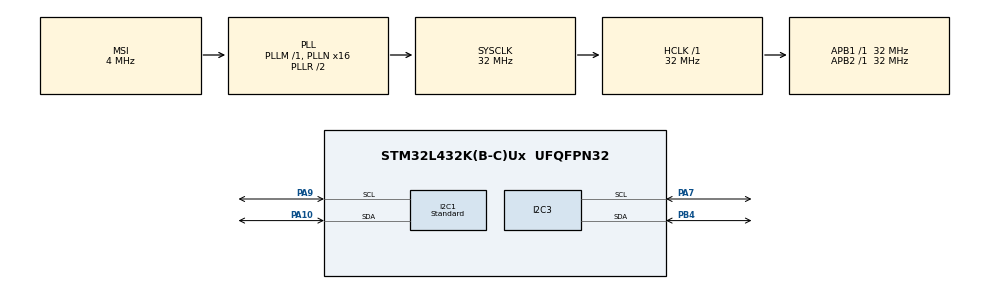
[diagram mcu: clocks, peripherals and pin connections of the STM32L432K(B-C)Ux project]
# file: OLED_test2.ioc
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I2C1.I2C_Speed_Mode=I2C_Standard
I2C1.Timing=0x00707CBB
I2C3.Timing=0x00707CBB
Mcu.Family=STM32L4
Mcu.Name=STM32L432K(B-C)Ux
Mcu.Package=UFQFPN32
NVIC.PriorityGroup=NVIC_PRIORITYGROUP_4
PA10.Mode=I2C
PA10.Signal=I2C1_SDA
PA13\ (JTMS-SWDIO).Mode=Serial_Wire
PA13\ (JTMS-SWDIO).Signal=SYS_JTMS-SWDIO
PA14\ (JTCK-SWCLK).Mode=Serial_Wire
PA14\ (JTCK-SWCLK).Signal=SYS_JTCK-SWCLK
PA7.Mode=I2C
PA7.Signal=I2C3_SCL
PA9.Mode=I2C
PA9.Signal=I2C1_SCL
PB4\ (NJTRST).Mode=I2C
PB4\ (NJTRST).Signal=I2C3_SDA
PC14-OSC32_IN\ (PC14).Mode=LSE-External-Oscillator
PC14-OSC32_IN\ (PC14).Signal=RCC_OSC32_IN
PC15-OSC32_OUT\ (PC15).Mode=LSE-External-Oscillator
PC15-OSC32_OUT\ (PC15).Signal=RCC_OSC32_OUT
ProjectManager.HeapSize=0x200
ProjectManager.StackSize=0x400
ProjectManager.TargetToolchain=STM32CubeIDE
RCC.AHBFreq_Value=32000000
RCC.APB1Freq_Value=32000000
RCC.APB1TimFreq_Value=32000000
RCC.APB2Freq_Value=32000000
RCC.APB2TimFreq_Value=32000000
RCC.CortexFreq_Value=32000000
RCC.HCLKFreq_Value=32000000
RCC.HSE_VALUE=8000000
RCC.HSI16_VALUE=16000000
RCC.HSI48_VALUE=48000000
RCC.HSI_VALUE=16000000
RCC.MSI_VALUE=4000000
RCC.PLLMUL=RCC_PLLMUL_4
RCC.PLLN=16
RCC.SYSCLKFreq_VALUE=32000000
RCC.SYSCLKSource=RCC_SYSCLKSOURCE_PLLCLK
RCC.VCOOutputFreq_Value=64000000
board=NUCLEO-L432KC

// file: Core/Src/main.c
/* USER CODE BEGIN Header */
/**
  ******************************************************************************
  * @file           : main.c
  * @brief          : Main program body
  ******************************************************************************
  * @attention
  *
  * Copyright (c) 2024 STMicroelectronics.
  * All rights reserved.
  *
  * This software is licensed under terms that can be found in the LICENSE file
  * in the root directory of this software component.
  * If no LICENSE file comes with this software, it is provided AS-IS.
  *
  ******************************************************************************
  */
/* USER CODE END Header */
#include "main.h"

/* USER CODE BEGIN Includes */

#include "stdio.h"
#include "ssd1306.h"
#include "ssd1306_fonts.h"
#include "i2c-lcd.h"
/* USER CODE END Includes */

I2C_HandleTypeDef hi2c1;
I2C_HandleTypeDef hi2c3;

void SystemClock_Config(void);
static void MX_GPIO_Init(void);
static void MX_I2C1_Init(void);
static void MX_I2C3_Init(void);

/* USER CODE BEGIN 0 */
#define DS3107_ADDRESS 0xD0

//Convert normal decimal numbers to binary coded decimal
uint8_t decToBcd(int val)
{
	return (uint8_t)( (val/10*16) + (val%10) );
}
//Convert binary coded decimal to normal decimal numbers
int bcdToDec(uint8_t val)
{
	return (int)( (val/16*10) + (val%16) );
}
typedef struct {
	uint8_t seconds;
	uint8_t minutes;
	uint8_t hour;
	uint8_t dayofweek;
	uint8_t dayofmonth;
	uint8_t month;
	uint8_t year;
} TIME;

TIME time;

//function to set time
void Set_Time (uint8_t sec, uint8_t min, uint8_t hour, uint8_t dow, uint8_t dom, uint8_t month, uint8_t year)
{
	uint8_t set_time[7];
	set_time[0] = decToBcd(sec);
	set_time[1] = decToBcd(min);
	set_time[2] = decToBcd(hour);
	set_time[3] = decToBcd(dow);
	set_time[4] = decToBcd(dom);
	set_time[5] = decToBcd(month);
	set_time[6] = decToBcd(year);

	HAL_I2C_Mem_Write(&hi2c1, DS3107_ADDRESS, 0x00, 1, set_time, 7, 1000); //OLED
	HAL_I2C_Mem_Write(&hi2c3, DS3107_ADDRESS, 0x00, 1, set_time, 7, 1000);

}
void Get_Time (void)
{
	uint8_t get_time[7];
	HAL_I2C_Mem_Read(&hi2c1, DS3107_ADDRESS, 0x00, 1, get_time, 7, 1000);  //OLED
	HAL_I2C_Mem_Read(&hi2c3, DS3107_ADDRESS, 0x00, 1, get_time, 7, 1000);
	time.seconds = bcdToDec(get_time[0]);
	time.minutes = bcdToDec(get_time[1]);
	time.hour = bcdToDec(get_time[2]);
	time.dayofweek = bcdToDec(get_time[3]);
	time.dayofmonth = bcdToDec(get_time[4]);
	time.month = bcdToDec(get_time[5]);
	time.year = bcdToDec(get_time[6]);
}

char buffer[15];

/* USER CODE END 0 */

int main(void)
{
  /* USER CODE BEGIN 1 */
	char array[] = "HELLO WORLD";
	char retval;

  /* USER CODE END 1 */

  /* MCU Configuration--------------------------------------------------------*/

  /* Reset of all peripherals, Initializes the Flash interface and the Systick. */
  HAL_Init();

  /* USER CODE BEGIN Init */
  lcd_init ();
  /* USER CODE END Init */

  /* Configure the system clock */
  SystemClock_Config();

  /* Initialize all configured peripherals */
  MX_GPIO_Init();
  MX_I2C1_Init();
  MX_I2C3_Init();
  /* USER CODE BEGIN 2 */
  ssd1306_Init();
//  ssd1306_Fill(White);
//  ssd1306_UpdateScreen();

  Set_Time(40, 31, 01, 5, 10, 7, 24);

//  ssd1306_SetCursor(5, 5);
//  retval = ssd1306_WriteString(array, Font_11x18, White);
//  ssd1306_UpdateScreen();

  /* USER CODE END 2 */

  /* Infinite loop */
  while (1)
  {

    /* USER CODE BEGIN 3 */
	  Get_Time();
	  	  sprintf(buffer, "%02d:%02d:%02d", time.hour, time.minutes, time.seconds);
	  	  lcd_put_cur(0,0);
	  	  lcd_send_string(buffer);

	  	  ssd1306_SetCursor(5, 5);
	  	  retval = ssd1306_WriteString(buffer, Font_7x10, White);
	  	  ssd1306_UpdateScreen();

	  	  sprintf(buffer, "%02d-%02d-20%02d", time.dayofmonth, time.month, time.year);
	  	  lcd_put_cur(1,0);
	  	  lcd_send_string(buffer);
	  	 ssd1306_SetCursor(7, 20);
	  		  	  retval = ssd1306_WriteString(buffer, Font_7x10, White);
	  		  	  ssd1306_UpdateScreen();

	  	  HAL_Delay(500);
  }
  /* USER CODE END 3 */
}

void SystemClock_Config(void)
{
  RCC_OscInitTypeDef RCC_OscInitStruct = {0};
  RCC_ClkInitTypeDef RCC_ClkInitStruct = {0};

  /** Configure the main internal regulator output voltage
  */
  if (HAL_PWREx_ControlVoltageScaling(PWR_REGULATOR_VOLTAGE_SCALE1) != HAL_OK)
  {
    Error_Handler();
  }

  /** Configure LSE Drive Capability
  */
  HAL_PWR_EnableBkUpAccess();
  __HAL_RCC_LSEDRIVE_CONFIG(RCC_LSEDRIVE_LOW);

  /** Initializes the RCC Oscillators according to the specified parameters
  * in the RCC_OscInitTypeDef structure.
  */
  RCC_OscInitStruct.OscillatorType = RCC_OSCILLATORTYPE_LSE|RCC_OSCILLATORTYPE_MSI;
  RCC_OscInitStruct.LSEState = RCC_LSE_ON;
  RCC_OscInitStruct.MSIState = RCC_MSI_ON;
  RCC_OscInitStruct.MSICalibrationValue = 0;
  RCC_OscInitStruct.MSIClockRange = RCC_MSIRANGE_6;
  RCC_OscInitStruct.PLL.PLLState = RCC_PLL_ON;
  RCC_OscInitStruct.PLL.PLLSource = RCC_PLLSOURCE_MSI;
  RCC_OscInitStruct.PLL.PLLM = 1;
  RCC_OscInitStruct.PLL.PLLN = 16;
  RCC_OscInitStruct.PLL.PLLP = RCC_PLLP_DIV7;
  RCC_OscInitStruct.PLL.PLLQ = RCC_PLLQ_DIV2;
  RCC_OscInitStruct.PLL.PLLR = RCC_PLLR_DIV2;
  if (HAL_RCC_OscConfig(&RCC_OscInitStruct) != HAL_OK)
  {
    Error_Handler();
  }

  /** Initializes the CPU, AHB and APB buses clocks
  */
  RCC_ClkInitStruct.ClockType = RCC_CLOCKTYPE_HCLK|RCC_CLOCKTYPE_SYSCLK
                              |RCC_CLOCKTYPE_PCLK1|RCC_CLOCKTYPE_PCLK2;
  RCC_ClkInitStruct.SYSCLKSource = RCC_SYSCLKSOURCE_PLLCLK;
  RCC_ClkInitStruct.AHBCLKDivider = RCC_SYSCLK_DIV1;
  RCC_ClkInitStruct.APB1CLKDivider = RCC_HCLK_DIV1;
  RCC_ClkInitStruct.APB2CLKDivider = RCC_HCLK_DIV1;

  if (HAL_RCC_ClockConfig(&RCC_ClkInitStruct, FLASH_LATENCY_1) != HAL_OK)
  {
    Error_Handler();
  }

  /** Enable MSI Auto calibration
  */
  HAL_RCCEx_EnableMSIPLLMode();
}

static void MX_I2C1_Init(void)
{

  hi2c1.Instance = I2C1;
  hi2c1.Init.Timing = 0x00707CBB;
  hi2c1.Init.OwnAddress1 = 0;
  hi2c1.Init.AddressingMode = I2C_ADDRESSINGMODE_7BIT;
  hi2c1.Init.DualAddressMode = I2C_DUALADDRESS_DISABLE;
  hi2c1.Init.OwnAddress2 = 0;
  hi2c1.Init.OwnAddress2Masks = I2C_OA2_NOMASK;
  hi2c1.Init.GeneralCallMode = I2C_GENERALCALL_DISABLE;
  hi2c1.Init.NoStretchMode = I2C_NOSTRETCH_DISABLE;
  if (HAL_I2C_Init(&hi2c1) != HAL_OK)
  {
    Error_Handler();
  }

  /** Configure Analogue filter
  */
  if (HAL_I2CEx_ConfigAnalogFilter(&hi2c1, I2C_ANALOGFILTER_ENABLE) != HAL_OK)
  {
    Error_Handler();
  }

  /** Configure Digital filter
  */
  if (HAL_I2CEx_ConfigDigitalFilter(&hi2c1, 0) != HAL_OK)
  {
    Error_Handler();
  }

}

static void MX_I2C3_Init(void)
{

  hi2c3.Instance = I2C3;
  hi2c3.Init.Timing = 0x00707CBB;
  hi2c3.Init.OwnAddress1 = 0;
  hi2c3.Init.AddressingMode = I2C_ADDRESSINGMODE_7BIT;
  hi2c3.Init.DualAddressMode = I2C_DUALADDRESS_DISABLE;
  hi2c3.Init.OwnAddress2 = 0;
  hi2c3.Init.OwnAddress2Masks = I2C_OA2_NOMASK;
  hi2c3.Init.GeneralCallMode = I2C_GENERALCALL_DISABLE;
  hi2c3.Init.NoStretchMode = I2C_NOSTRETCH_DISABLE;
  if (HAL_I2C_Init(&hi2c3) != HAL_OK)
  {
    Error_Handler();
  }

  /** Configure Analogue filter
  */
  if (HAL_I2CEx_ConfigAnalogFilter(&hi2c3, I2C_ANALOGFILTER_ENABLE) != HAL_OK)
  {
    Error_Handler();
  }

  /** Configure Digital filter
  */
  if (HAL_I2CEx_ConfigDigitalFilter(&hi2c3, 0) != HAL_OK)
  {
    Error_Handler();
  }

}

static void MX_GPIO_Init(void)
{

  /* GPIO Ports Clock Enable */
  __HAL_RCC_GPIOC_CLK_ENABLE();
  __HAL_RCC_GPIOA_CLK_ENABLE();
  __HAL_RCC_GPIOB_CLK_ENABLE();

}

void Error_Handler(void)
{
  __disable_irq();
  while (1)
  {
  }
}
